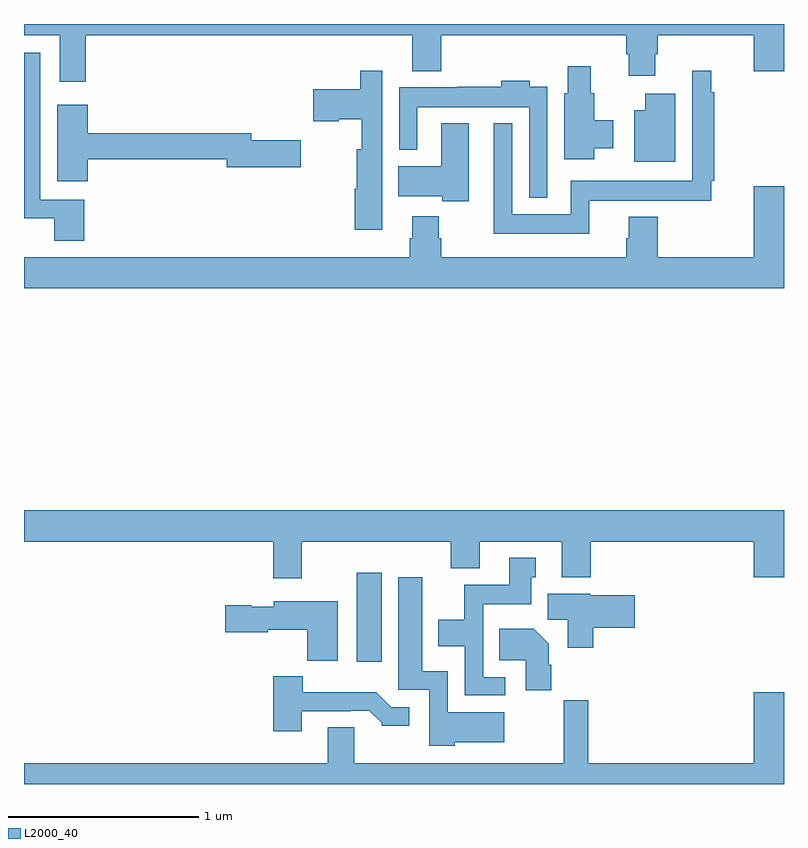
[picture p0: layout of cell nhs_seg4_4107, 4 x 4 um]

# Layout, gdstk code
import gdstk
lib = gdstk.Library(unit=1e-6, precision=1e-09)
def R(c, l, rs):  # rectangles x0, y0, x1, y1
    for r in rs: c.add(gdstk.rectangle(r[:2], r[2:], *l))
def P(c, l, *ps):  # polygons
    for p in ps: c.add(gdstk.Polygon(p, *l))
L2000_40 = (2000, 40)

nhs_seg4_4107 = lib.new_cell('nhs_seg4_4107')
R(nhs_seg4_4107, L2000_40, [(330.752,773.544,330.883,774.013)])
P(nhs_seg4_4107, L2000_40, [(329.324,776.84),(331.043,776.84),(331.043,776.651),(331.196,776.651),(331.196,776.84),(332.171,776.84),(332.171,776.742),(332.183,776.742),(332.183,776.628),(332.323,776.628),(332.323,776.742),(332.336,776.742),(332.336,776.84),(332.84,776.84),(332.84,776.652),(333,776.652),(333,776.9),(329,776.9),(329,776.84),(329.189,776.84),(329.189,776.595),(329.324,776.595)],
  [(329.318,775.974),(329.085,775.974),(329.085,776.749),(329,776.749),(329,775.877),(329.158,775.877),(329.158,775.758),(329.318,775.758)],
  [(332.002,776.246),(332.101,776.246),(332.101,776.394),(332.002,776.394),(332.002,776.535),(331.984,776.535),(331.984,776.677),(331.862,776.677),(331.862,776.535),(331.844,776.535),(331.844,776.187),(332.002,776.187)],
  [(330.886,776.138),(330.885,776.138),(330.885,776.653),(330.769,776.653),(330.769,776.557),(330.522,776.557),(330.522,776.387),(330.656,776.387),(330.656,776.399),(330.777,776.399),(330.777,776.242),(330.752,776.242),(330.752,776.034),(330.74,776.034),(330.74,775.818),(330.886,775.818)],
  [(331.976,775.97),(332.616,775.97),(332.616,776.074),(332.633,776.074),(332.633,776.54),(332.616,776.54),(332.616,776.653),(332.517,776.653),(332.517,776.074),(331.878,776.074),(331.878,775.9),(331.569,775.9),(331.569,776.377),(331.472,776.377),(331.472,775.796),(331.976,775.796)],
  [(331.755,776.569),(331.663,776.569),(331.663,776.602),(331.511,776.602),(331.511,776.569),(331.279,776.569),(331.279,776.566),(330.975,776.566),(330.975,776.237),(331.071,776.237),(331.071,776.462),(331.659,776.462),(331.659,775.985),(331.755,775.985)],
  [(332.428,776.533),(332.27,776.533),(332.27,776.446),(332.213,776.446),(332.213,776.174),(332.428,776.174)],
  [(329.336,776.188),(330.068,776.188),(330.068,776.146),(330.457,776.146),(330.457,776.288),(330.196,776.288),(330.196,776.324),(329.336,776.324),(329.336,776.476),(329.174,776.476),(329.174,776.073),(329.336,776.073)],
  [(331.342,776.377),(331.196,776.377),(331.196,776.152),(330.971,776.152),(330.971,775.994),(331.2,775.994),(331.2,775.967),(331.342,775.967)],
  [(333,776.047),(332.84,776.047),(332.84,775.672),(332.336,775.672),(332.336,775.885),(332.183,775.885),(332.183,775.773),(332.171,775.773),(332.171,775.672),(331.196,775.672),(331.196,775.772),(331.183,775.772),(331.183,775.888),(331.043,775.888),(331.043,775.772),(331.031,775.772),(331.031,775.672),(329,775.672),(329,775.508),(333,775.508)],
  [(330.463,774.176),(331.247,774.176),(331.247,774.035),(331.399,774.035),(331.399,774.176),(331.829,774.176),(331.829,773.987),(331.982,773.987),(331.982,774.176),(332.84,774.176),(332.84,773.988),(333,773.988),(333,774.34),(329,774.34),(329,774.176),(330.311,774.176),(330.311,773.982),(330.463,773.982)],
  [(331.534,773.463),(331.416,773.463),(331.416,773.846),(331.669,773.846),(331.669,773.988),(331.693,773.988),(331.693,774.091),(331.553,774.091),(331.553,773.95),(331.318,773.95),(331.318,773.764),(331.181,773.764),(331.181,773.624),(331.32,773.624),(331.32,773.367),(331.534,773.367)],
  [(331.266,773.12),(331.528,773.12),(331.528,773.278),(331.23,773.278),(331.23,773.494),(331.096,773.494),(331.096,773.989),(330.971,773.989),(330.971,773.397),(331.134,773.397),(331.134,773.102),(331.266,773.102)],
  [(331.997,773.723),(332.215,773.723),(332.215,773.893),(331.98,773.893),(331.98,773.902),(331.757,773.902),(331.757,773.764),(331.862,773.764),(331.862,773.616),(331.997,773.616)],
  [(330.652,773.863),(330.314,773.863),(330.314,773.833),(330.195,773.833),(330.195,773.841),(330.06,773.841),(330.06,773.699),(330.282,773.699),(330.282,773.711),(330.49,773.711),(330.49,773.549),(330.652,773.549)],
  [(331.775,773.528),(331.762,773.528),(331.762,773.638),(331.684,773.716),(331.501,773.716),(331.501,773.552),(331.64,773.552),(331.64,773.394),(331.775,773.394)],
  [(330.463,773.283),(330.719,773.283),(330.719,773.286),(330.818,773.286),(330.882,773.222),(330.882,773.207),(331.027,773.207),(331.027,773.304),(330.933,773.304),(330.855,773.383),(330.466,773.383),(330.466,773.467),(330.311,773.467),(330.311,773.178),(330.463,773.178)],
  [(333,773.383),(332.84,773.383),(332.84,773.008),(331.97,773.008),(331.97,773.341),(331.842,773.341),(331.842,773.008),(330.739,773.008),(330.739,773.198),(330.599,773.198),(330.599,773.008),(329,773.008),(329,772.9),(333,772.9)])

lib.write_gds('nhs_seg4_4107.gds')
